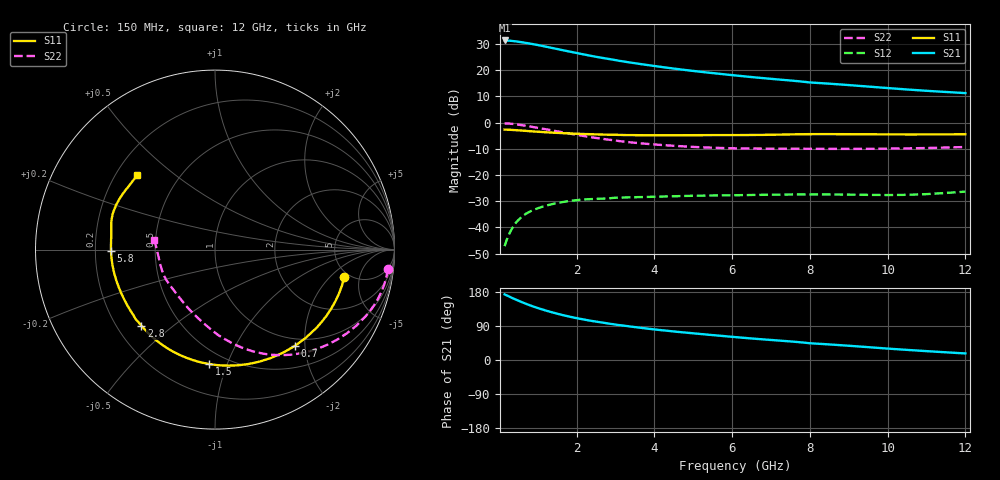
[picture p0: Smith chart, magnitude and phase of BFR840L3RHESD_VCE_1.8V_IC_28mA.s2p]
! Infineon Technologies  Discrete & RF Semiconductors
! BFR840L3RHESD
! VCE =  1.8 V,  IC =  28 mA
! Common Emitter S-Parameters:  Jun 2012
# GHz  S  MA  R  50
!  f  S11  S21  S12  S22
! GHz  MAG  ANG  MAG  ANG  MAG  ANG  MAG  ANG
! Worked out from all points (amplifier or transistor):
!   91 points, 150 MHz to 12 GHz, reference 50 ohm
!   highest |S21| = 31.4 dB at 150 MHz (marker M1)
!   |S21| within 3 dB of that: start of sweep to 1.415 GHz
!   unconditionally stable (mu >= 1): 6.584 GHz to end of sweep
!   at 1.3 GHz: K = 0.23, MSG = 30.0 dB, |S12| = -31.3 dB
!   at 4.3 GHz: K = 0.67, MSG = 24.6 dB, |S12| = -28.2 dB
!   at 12 GHz: K = 1.75, MAG = 13.8 dB, |S12| = -26.3 dB
!   S11 on the Smith chart (normalised r, x): 150 MHz: 4.53, -3.02; 700 MHz: 0.86, -1.79; 1.5 GHz: 0.40, -0.87; 2.8 GHz: 0.30, -0.39; 5.8 GHz: 0.27, -0.00; 12 GHz: 0.29, +0.37
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0.15  0.7372 -11.9  37.04 173.1  0.0044 82.2  0.9691 -6.4
0.3  0.7299 -23.2  36.5 165.9  0.0084 73.8  0.9561 -14.5
0.45  0.7185 -33.9  35.47 158.9  0.0126 70.3  0.9286 -21.7
0.6  0.7055 -44.1  34.19 152.4  0.0162 66.6  0.8944 -28.3
0.7  0.6967 -50.5  33.26 148.3  0.0183 63.9  0.8702 -32.4
0.8  0.688 -56.7  32.29 144.4  0.0201 61.1  0.8457 -36.4
1  0.6717 -68.3  30.3 137.2  0.0232 55.6  0.7972 -43.7
1.2  0.6572 -78.8  28.3 130.8  0.0259 50.8  0.7502 -50.3
1.5  0.6387 -92.8  25.44 122.3  0.0292 45.6  0.6835 -59.3
1.9  0.619 -108.5  22.09 112.6  0.0326 40.9  0.604 -69.7
2.2  0.6074 -118.4  19.94 106.6  0.0342 37.4  0.5535 -76.4
2.4  0.6008 -124.2  18.68 103.0  0.0349 35.0  0.5243 -80.4
2.8  0.5897 -134.0  16.57 96.6  0.0359 32.4  0.4766 -87.8
3.4  0.579 -146.9  13.98 88.1  0.0377 29.9  0.4206 -97.6
4.2  0.5758 -159.8  11.52 78.5  0.0389 28.7  0.3745 -109.2
5  0.5774 -170.5  9.715 70.4  0.0403 27.2  0.345 -120.1
5.8  0.5793 -179.5  8.367 63.0  0.0411 26.2  0.3274 -130.3
6.1  0.5801 177.5  7.938 60.3  0.0413 26.1  0.3237 -134.0
8  0.604 159.7  5.852 44.2  0.0428 25.7  0.3173 -158.2
8.5  0.6044 156.2  5.546 41.1  0.0427 25.8  0.3161 -162.6
10.5  0.5964 142.9  4.298 26.7  0.042 33.3  0.3233 -179.5
12  0.6006 136.2  3.668 17.3  0.0483 39.6  0.3435 171.5
